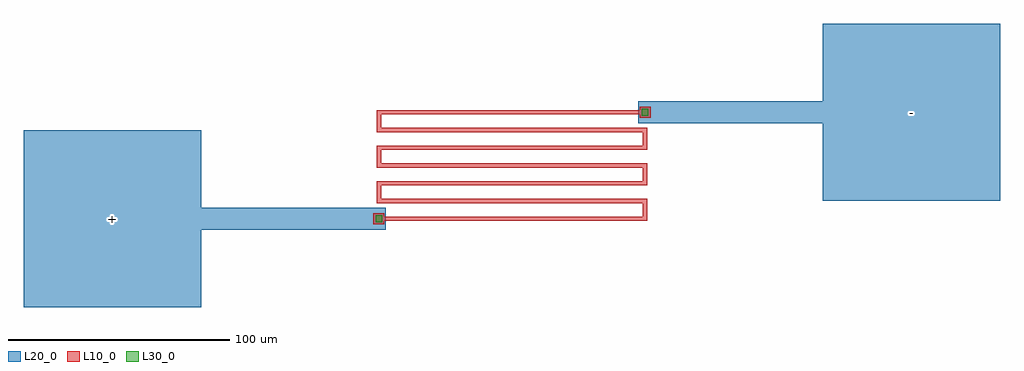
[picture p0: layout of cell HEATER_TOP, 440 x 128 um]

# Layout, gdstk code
import gdstk
lib = gdstk.Library(unit=1e-6, precision=1e-09)
def R(c, l, rs):  # rectangles x0, y0, x1, y1
    for r in rs: c.add(gdstk.rectangle(r[:2], r[2:], *l))
def P(c, l, *ps):  # polygons
    for p in ps: c.add(gdstk.Polygon(p, *l))
L10_0 = (10, 0)
L20_0 = (20, 0)
L30_0 = (30, 0)

pad_80 = lib.new_cell('PAD_80')
R(pad_80, L20_0, [(-40,-40,40,40)])

heater_top = lib.new_cell('HEATER_TOP')
R(heater_top, L10_0, [(-2.5,-2.5,2.5,2.5), (117.5,45.5,122.5,50.5)])
P(heater_top, L10_0, [(0,1),(0,-1),(121,-1),(121,9),(1,9),(1,15),(121,15),(121,25),(1,25),(1,31),(121,31),(121,41),(1,41),(1,47),(120,47),(120,49),(-1,49),(-1,39),(119,39),(119,33),(-1,33),(-1,23),(119,23),(119,17),(-1,17),(-1,7),(119,7),(119,1)])
R(heater_top, L20_0, [(-120,-5,3,5), (117,43,240,53)])
R(heater_top, L30_0, [(-1.5,-1.5,1.5,1.5), (118.5,46.5,121.5,49.5)])
heater_top.add(gdstk.Reference(pad_80, (-120,0)))
heater_top.add(gdstk.Reference(pad_80, (240,48)))
heater_top.add(gdstk.Label('+', (-120,0), layer=63, texttype=0))
heater_top.add(gdstk.Label('-', (240,48), layer=63, texttype=0))

lib.write_gds('HEATER_TOP.gds')
